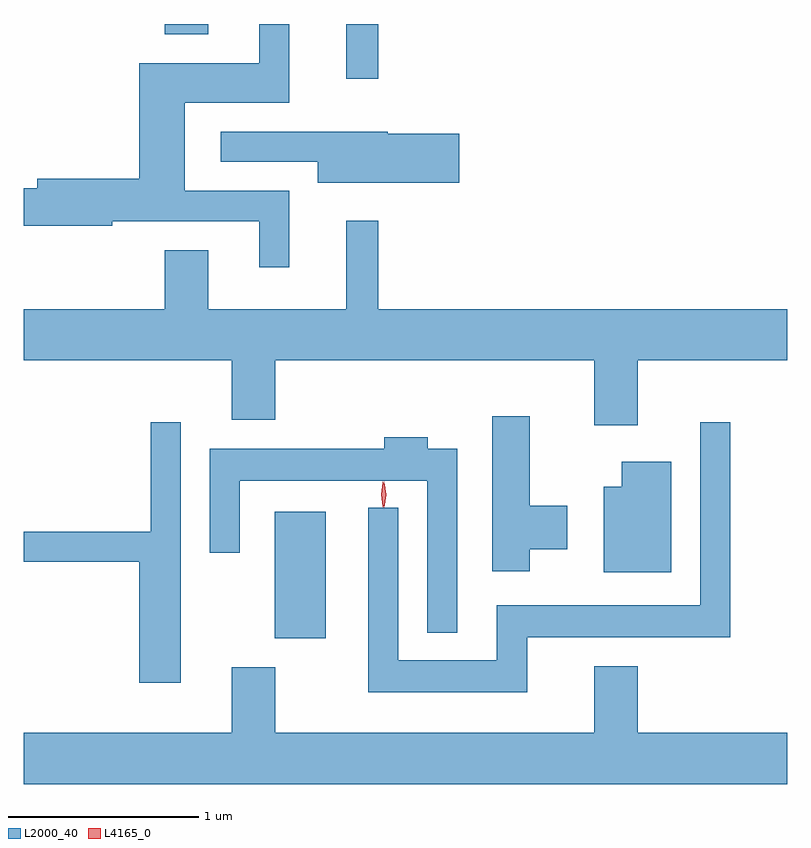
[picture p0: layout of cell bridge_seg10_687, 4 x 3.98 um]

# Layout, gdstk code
import gdstk
lib = gdstk.Library(unit=1e-6, precision=1e-09)
def R(c, l, rs):  # rectangles x0, y0, x1, y1
    for r in rs: c.add(gdstk.rectangle(r[:2], r[2:], *l))
def P(c, l, *ps):  # polygons
    for p in ps: c.add(gdstk.Polygon(p, *l))
L2000_40 = (2000, 40)
L4165_0 = (4165, 0)

bridge_seg10_687 = lib.new_cell('bridge_seg10_687')
R(bridge_seg10_687, L2000_40, [(1004.106,2110.241,1004.374,2110.904), (1004.481,2113.173,1004.649,2113.459), (1003.531,2113.406,1003.759,2113.459)])
P(bridge_seg10_687, L2000_40, [(1004.184,2112.584),(1003.634,2112.584),(1003.634,2113.046),(1004.184,2113.046),(1004.184,2113.459),(1004.026,2113.459),(1004.026,2113.254),(1003.396,2113.254),(1003.396,2112.649),(1002.861,2112.649),(1002.861,2112.599),(1002.792,2112.599),(1002.792,2112.401),(1003.254,2112.401),(1003.254,2112.426),(1004.026,2112.426),(1004.026,2112.183),(1004.184,2112.183)],
  [(1005.074,2112.884),(1004.7,2112.884),(1004.7,2112.894),(1003.823,2112.894),(1003.823,2112.736),(1004.331,2112.736),(1004.331,2112.626),(1005.074,2112.626)],
  [(1006.009,2111.696),(1006.792,2111.696),(1006.792,2111.964),(1004.649,2111.964),(1004.649,2112.428),(1004.481,2112.428),(1004.481,2111.964),(1003.759,2111.964),(1003.759,2112.274),(1003.531,2112.274),(1003.531,2111.964),(1002.792,2111.964),(1002.792,2111.696),(1003.881,2111.696),(1003.881,2111.386),(1004.109,2111.386),(1004.109,2111.696),(1005.781,2111.696),(1005.781,2111.356),(1006.009,2111.356)],
  [(1005.444,2110.706),(1005.639,2110.706),(1005.639,2110.934),(1005.444,2110.934),(1005.444,2111.404),(1005.246,2111.404),(1005.246,2110.591),(1005.444,2110.591)],
  [(1003.614,2111.373),(1003.456,2111.373),(1003.456,2110.799),(1002.792,2110.799),(1002.792,2110.641),(1003.396,2110.641),(1003.396,2110.006),(1003.614,2110.006)],
  [(1005.429,2110.246),(1006.494,2110.246),(1006.494,2111.373),(1006.336,2111.373),(1006.336,2110.414),(1005.271,2110.414),(1005.271,2110.124),(1004.754,2110.124),(1004.754,2110.923),(1004.596,2110.923),(1004.596,2109.956),(1005.429,2109.956)],
  [(1005.064,2111.234),(1004.909,2111.234),(1004.909,2111.294),(1004.681,2111.294),(1004.681,2111.234),(1003.766,2111.234),(1003.766,2110.688),(1003.924,2110.688),(1003.924,2111.066),(1004.906,2111.066),(1004.906,2110.268),(1005.064,2110.268)],
  [(1006.184,2111.164),(1005.926,2111.164),(1005.926,2111.034),(1005.831,2111.034),(1005.831,2110.586),(1006.184,2110.586)],
  [(1006.792,2109.744),(1006.009,2109.744),(1006.009,2110.094),(1005.781,2110.094),(1005.781,2109.744),(1004.109,2109.744),(1004.109,2110.089),(1003.881,2110.089),(1003.881,2109.744),(1002.792,2109.744),(1002.792,2109.476),(1006.792,2109.476)])
P(bridge_seg10_687, L4165_0, [(1004.68,2110.924),(1004.671,2110.992),(1004.68,2111.06),(1004.681,2111.061),(1004.681,2111.06),(1004.691,2110.992),(1004.681,2110.924),(1004.681,2110.924)],
  [(1004.675,2110.927),(1004.674,2110.928),(1004.664,2110.993),(1004.674,2111.058),(1004.674,2111.059),(1004.675,2111.058),(1004.684,2110.993),(1004.675,2110.928)])

lib.write_gds('bridge_seg10_687.gds')
